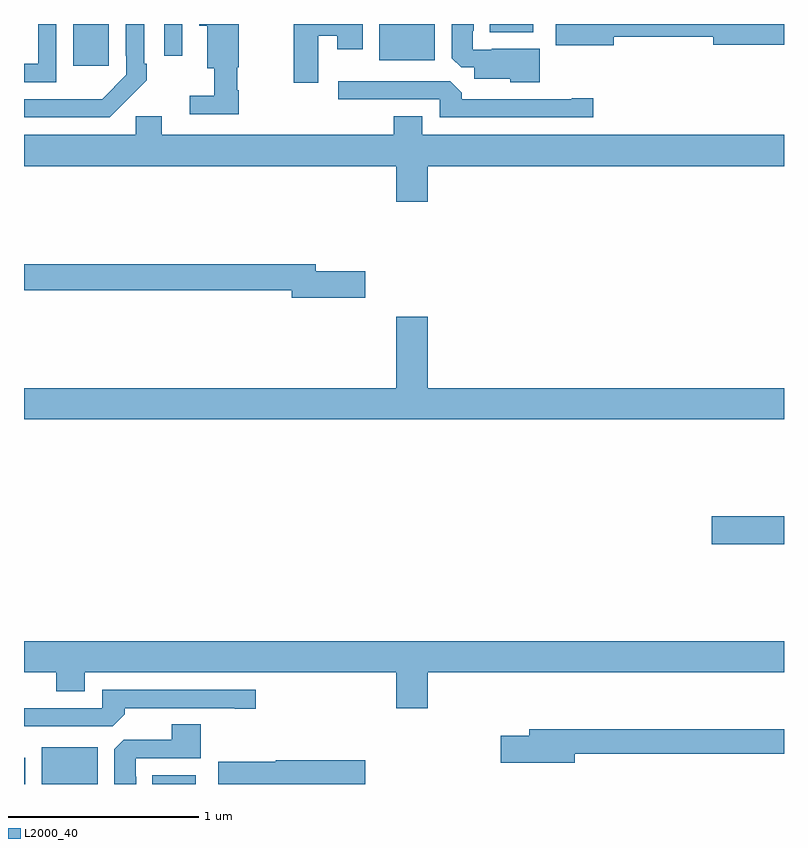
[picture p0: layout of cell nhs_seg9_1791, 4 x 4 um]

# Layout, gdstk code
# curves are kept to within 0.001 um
import gdstk
lib = gdstk.Library(unit=1e-6, precision=1e-09)
def R(c, l, rs):  # rectangles x0, y0, x1, y1
    for r in rs: c.add(gdstk.rectangle(r[:2], r[2:], *l))
def P(c, l, *ps):  # polygons
    for p in ps: c.add(gdstk.Polygon(p, *l))
L2000_40 = (2000, 40)

nhs_seg9_1791 = lib.new_cell('nhs_seg9_1791')
R(nhs_seg9_1791, L2000_40, [(211,1194.5,211.006,1194.637), (211.094,1194.5,211.387,1194.694), (211.676,1194.5,211.903,1194.547), (214.62,1195.763,215,1195.91), (211.259,1198.281,211.447,1198.5), (212.87,1198.31,213.163,1198.5), (211.737,1198.332,211.833,1198.5), (213.452,1198.457,213.679,1198.5)])
P(nhs_seg9_1791, L2000_40, [(212.548,1198.439),(212.648,1198.439),(212.648,1198.368),(212.782,1198.368),(212.782,1198.5),(212.419,1198.5),(212.419,1198.191),(212.548,1198.191)],
  [(213.715,1198.369),(213.463,1198.369),(213.463,1198.365),(213.363,1198.365),(213.363,1198.465),(213.367,1198.465),(213.367,1198.5),(213.251,1198.5),(213.251,1198.321),(213.3,1198.272),(213.371,1198.272),(213.371,1198.211),(213.558,1198.211),(213.558,1198.193),(213.715,1198.193)],
  [(211.17,1198.5),(211.074,1198.5),(211.074,1198.29),(211,1198.29),(211,1198.194),(211.17,1198.194)],
  [(211.541,1198.099),(211.542,1198.098),(211.647,1198.203),(211.647,1198.291),(211.632,1198.291),(211.632,1198.5),(211.536,1198.5),(211.536,1198.333),(211.539,1198.333),(211.539,1198.233),(211.411,1198.105),(211,1198.104),(211,1198.008),(211.45,1198.008)],
  [(212.129,1198.151),(212.122,1198.151),(212.122,1198.272),(212.13,1198.272),(212.13,1198.5),(211.922,1198.5),(211.922,1198.49),(211.964,1198.49),(211.964,1198.268),(212.001,1198.268),(212.001,1198.123),(211.872,1198.123),(211.872,1198.026),(212.129,1198.026)],
  [(214.105,1198.432),(214.628,1198.432),(214.628,1198.39),(215,1198.39),(215,1198.5),(213.798,1198.5),(213.798,1198.388),(214.105,1198.388)],
  [(213.997,1198.109),(213.884,1198.109),(213.884,1198.104),(213.305,1198.104),(213.305,1198.138),(213.243,1198.2),(212.655,1198.2),(212.655,1198.104),(213.189,1198.104),(213.189,1198.008),(213.997,1198.008)],
  [(213.124,1197.752),(215,1197.752),(215,1197.916),(213.097,1197.916),(213.097,1198.015),(212.945,1198.015),(212.945,1197.916),(211.726,1197.916),(211.726,1198.014),(211.587,1198.014),(211.587,1197.916),(211,1197.916),(211,1197.752),(212.96,1197.752),(212.96,1197.564),(213.124,1197.564)],
  [(212.797,1197.2),(212.536,1197.2),(212.536,1197.236),(211,1197.236),(211,1197.1),(212.408,1197.1),(212.408,1197.058),(212.797,1197.058)],
  [(215,1196.584),(213.124,1196.584),(213.124,1196.959),(212.96,1196.959),(212.96,1196.584),(211,1196.584),(211,1196.42),(215,1196.42)],
  [(213.124,1195.088),(215,1195.088),(215,1195.252),(211,1195.252),(211,1195.088),(211.169,1195.088),(211.169,1194.989),(211.321,1194.989),(211.321,1195.088),(212.96,1195.088),(212.96,1194.9),(213.124,1194.9)],
  [(211.529,1194.866),(211.529,1194.9),(212.108,1194.9),(212.108,1194.895),(212.221,1194.895),(212.221,1194.996),(211.413,1194.996),(211.413,1194.9),(211,1194.9),(211,1194.804),(211.467,1194.804)],
  [(211.591,1194.539),(211.587,1194.539),(211.587,1194.636),(211.931,1194.636),(211.931,1194.815),(211.778,1194.815),(211.778,1194.732),(211.524,1194.732),(211.475,1194.683),(211.475,1194.5),(211.591,1194.5)],
  [(213.898,1194.658),(215,1194.658),(215,1194.787),(213.659,1194.787),(213.659,1194.753),(213.51,1194.753),(213.51,1194.611),(213.898,1194.611)],
  [(212.797,1194.624),(212.325,1194.624),(212.325,1194.616),(212.022,1194.616),(212.022,1194.5),(212.797,1194.5)])

lib.write_gds('nhs_seg9_1791.gds')
